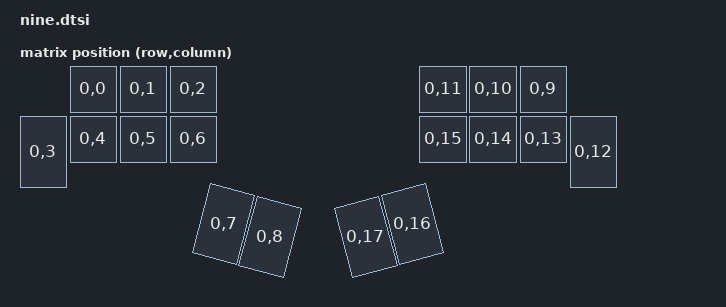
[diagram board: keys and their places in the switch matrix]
/*
 * Copyright (c) 2020 The ZMK Contributors
 *
 * SPDX-License-Identifier: MIT
 */

#include <dt-bindings/zmk/matrix_transform.h>
#include <physical_layouts.dtsi>

/ {

  chosen {
    zmk,kscan = &kscan0;
    // zmk,matrix_transform = &default_transform;
    wakeup-source;
    zmk,physical-layout = &default_layout;
  };

default_transform:
  keymap_transform_0 {
    compatible = "zmk,matrix-transform";
    columns = <18>;
    rows = <1>;
    map = <         RC(0, 0) RC(0, 1) RC(0, 2)                    RC(0, 11) RC(0, 10) RC(0, 9)               // First  row
           RC(0, 3) RC(0, 4) RC(0, 5) RC(0, 6)                    RC(0, 15) RC(0, 14) RC(0, 13) RC(0, 12)    // Second row
                                      RC(0, 7) RC(0, 8) RC(0, 17) RC(0, 16)>;                                // Thumbs row
  };

kscan0:
  kscan { 
    compatible = "zmk,kscan-gpio-direct";
    wakeup-source;
  };

default_layout:
  default_layout {
    compatible = "zmk,physical-layout";
    display-name = "Default Layout";
    transform = <&default_transform>;
    keys = //                     w   h    x    y     rot    rx    ry
        // row 1 left half
        <&key_physical_attrs    100 100  100    0       0     0     0>, //
        <&key_physical_attrs    100 100  200    0       0     0     0>, //
        <&key_physical_attrs    100 100  300    0       0     0     0>, //
        // row 1 right half
        <&key_physical_attrs    100 100  800    0       0     0     0>, //
        <&key_physical_attrs    100 100  900    0       0     0     0>, //
        <&key_physical_attrs    100 100 1000    0       0     0     0>, //
        // row 2 left half
        <&key_physical_attrs    100 150    0  100       0     0     0>, //
        <&key_physical_attrs    100 100  100  100       0     0     0>, //
        <&key_physical_attrs    100 100  200  100       0     0     0>, //
        <&key_physical_attrs    100 100  300  100       0     0     0>, //
        // row 2 right half
        <&key_physical_attrs    100 100  800  100       0     0     0>, //
        <&key_physical_attrs    100 100  900  100       0     0     0>, //
        <&key_physical_attrs    100 100 1000  100       0     0     0>, //
        <&key_physical_attrs    100 150 1100  100       0     0     0>, //
        // thumbs left half
        <&key_physical_attrs    100 150  400  250    1500   450   175>, //
        <&key_physical_attrs    100 150  500  277    1500   550   175>, //
        // thumbs right half
        <&key_physical_attrs    100 150  600  277  (-1500)  650   175>, //
        <&key_physical_attrs    100 150  700  250  (-1500)  750   175>  //
        ;
  };
};
